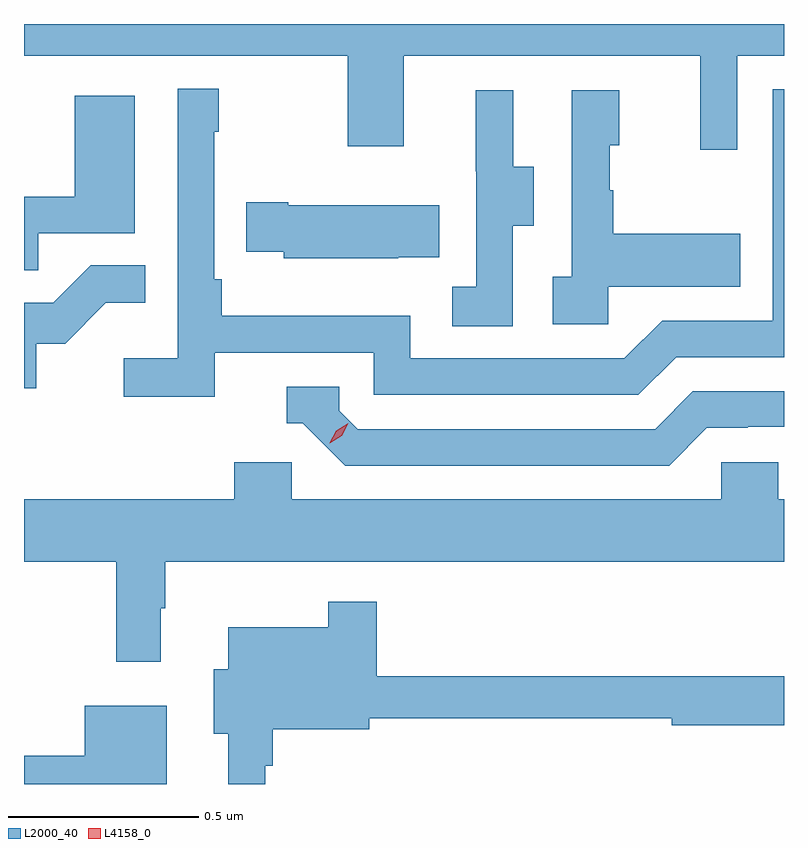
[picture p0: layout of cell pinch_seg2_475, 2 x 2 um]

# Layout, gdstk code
import gdstk
lib = gdstk.Library(unit=1e-6, precision=1e-09)
def P(c, l, *ps):  # polygons
    for p in ps: c.add(gdstk.Polygon(p, *l))
L2000_40 = (2000, 40)
L4158_0 = (4158, 0)

pinch_seg2_475 = lib.new_cell('pinch_seg2_475')
P(pinch_seg2_475, L2000_40, [(911.661,593.024),(911.784,593.024),(911.784,593.107),(909.784,593.107),(909.784,593.024),(910.636,593.024),(910.636,592.785),(910.783,592.785),(910.783,593.024),(911.564,593.024),(911.564,592.776),(911.661,592.776)],
  [(910.286,592.242),(910.704,592.242),(910.704,592.131),(911.401,592.131),(911.5,592.23),(911.784,592.23),(911.784,592.935),(911.754,592.935),(911.754,592.326),(911.463,592.326),(911.364,592.227),(910.8,592.227),(910.8,592.339),(910.304,592.339),(910.304,592.435),(910.284,592.435),(910.284,592.823),(910.297,592.823),(910.297,592.936),(910.188,592.936),(910.188,592.228),(910.047,592.228),(910.047,592.126),(910.286,592.126)],
  [(911.07,592.576),(911.125,592.576),(911.125,592.731),(911.071,592.731),(911.071,592.933),(910.973,592.933),(910.973,592.719),(910.974,592.719),(910.974,592.415),(910.911,592.415),(910.911,592.312),(911.07,592.312)],
  [(911.322,592.415),(911.669,592.415),(911.669,592.555),(911.335,592.555),(911.335,592.67),(911.325,592.67),(911.325,592.788),(911.35,592.788),(911.35,592.933),(911.226,592.933),(911.226,592.442),(911.175,592.442),(911.175,592.317),(911.322,592.317)],
  [(909.821,592.557),(910.075,592.557),(910.075,592.918),(909.917,592.918),(909.917,592.653),(909.784,592.653),(909.784,592.459),(909.821,592.459)],
  [(910.769,592.493),(910.877,592.493),(910.877,592.63),(910.48,592.63),(910.48,592.638),(910.369,592.638),(910.369,592.508),(910.467,592.508),(910.467,592.49),(910.769,592.49)],
  [(909.816,592.266),(909.892,592.266),(909.999,592.373),(910.103,592.373),(910.103,592.472),(909.959,592.472),(909.861,592.374),(909.784,592.374),(909.784,592.149),(909.816,592.149)],
  [(911.581,592.044),(911.688,592.044),(911.688,592.047),(911.784,592.047),(911.784,592.14),(911.544,592.14),(911.445,592.041),(910.662,592.041),(910.614,592.089),(910.614,592.152),(910.475,592.152),(910.475,592.056),(910.518,592.056),(910.629,591.945),(911.482,591.945)],
  [(910.144,591.569),(910.156,591.569),(910.156,591.692),(911.784,591.692),(911.784,591.856),(911.769,591.856),(911.769,591.954),(911.619,591.954),(911.619,591.856),(910.488,591.856),(910.488,591.954),(910.337,591.954),(910.337,591.856),(909.784,591.856),(909.784,591.692),(910.027,591.692),(910.027,591.429),(910.144,591.429)],
  [(910.419,591.155),(910.439,591.155),(910.439,591.251),(910.693,591.251),(910.693,591.28),(911.489,591.28),(911.489,591.262),(911.784,591.262),(911.784,591.391),(910.712,591.391),(910.712,591.586),(910.584,591.586),(910.584,591.52),(910.322,591.52),(910.322,591.409),(910.283,591.409),(910.283,591.239),(910.322,591.239),(910.322,591.107),(910.419,591.107)],
  [(910.159,591.313),(909.944,591.313),(909.944,591.182),(909.784,591.182),(909.784,591.107),(910.159,591.107)])
P(pinch_seg2_475, L4158_0, [(910.589,592.004),(910.589,592.005),(910.606,592.037),(910.637,592.056),(910.637,592.056),(910.637,592.056),(910.62,592.024),(910.589,592.004)])

lib.write_gds('pinch_seg2_475.gds')
